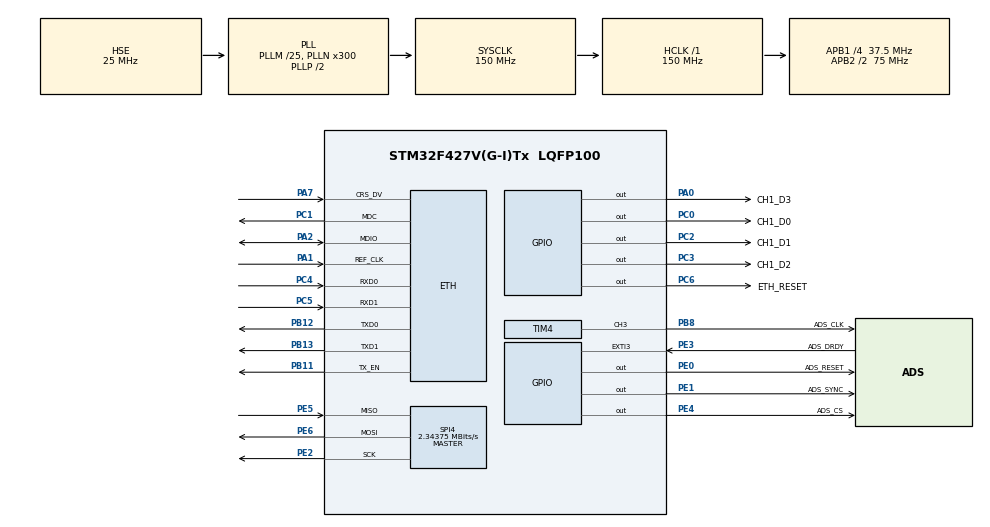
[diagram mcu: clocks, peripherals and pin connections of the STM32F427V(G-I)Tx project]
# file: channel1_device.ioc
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# TIMPRE=1 is explicitly configured in MX_TIM4_Init for the ADC clock.
ETH.MediaInterface=HAL_ETH_RMII_MODE
LWIP.IP_ADDRESS=192.168.001.100
LWIP.LWIP_DHCP=0
LWIP.NETMASK_ADDRESS=255.255.255.000
LWIP.Version=v2.1.2_Cube
Mcu.Family=STM32F4
Mcu.Name=STM32F427V(G-I)Tx
Mcu.Package=LQFP100
NVIC.EXTI3_IRQn=true\:0\:0\:false\:false\:true\:true\:true\:true
NVIC.PriorityGroup=NVIC_PRIORITYGROUP_4
PA0/WKUP.GPIO_Label=CH1_D3
PA0/WKUP.Signal=GPIO_Output
PA1.Mode=RMII
PA1.Signal=ETH_REF_CLK
PA13.Mode=Serial_Wire
PA13.Signal=SYS_JTMS-SWDIO
PA14.Mode=Serial_Wire
PA14.Signal=SYS_JTCK-SWCLK
PA2.Mode=RMII
PA2.Signal=ETH_MDIO
PB8.GPIO_Label=ADS_CLK
PB8.GPIO_Speed=GPIO_SPEED_FREQ_VERY_HIGH
PB8.Signal=S_TIM4_CH3
PA7.Mode=RMII
PA7.Signal=ETH_CRS_DV
PB11.Mode=RMII
PB11.Signal=ETH_TX_EN
PB12.Mode=RMII
PB12.Signal=ETH_TXD0
PB13.Mode=RMII
PB13.Signal=ETH_TXD1
PC0.GPIO_Label=CH1_D0
PC0.Signal=GPIO_Output
PC1.Mode=RMII
PC1.Signal=ETH_MDC
PC2.GPIO_Label=CH1_D1
PC2.Signal=GPIO_Output
PC3.GPIO_Label=CH1_D2
PC3.Signal=GPIO_Output
PC4.Mode=RMII
PC4.Signal=ETH_RXD0
PC5.Mode=RMII
PC5.Signal=ETH_RXD1
PC6.GPIO_Label=ETH_RESET
PC6.GPIO_Speed=GPIO_SPEED_FREQ_MEDIUM
PC6.Signal=GPIO_Output
PE0.GPIO_Label=ADS_RESET
PE0.PinState=GPIO_PIN_SET
PE0.Signal=GPIO_Output
PE1.GPIO_Label=ADS_SYNC
PE1.Signal=GPIO_Output
PE2.Mode=Full_Duplex_Master
PE2.Signal=SPI4_SCK
PE3.GPIO_Label=ADS_DRDY
PE3.Signal=GPXTI3
PE4.GPIO_Label=ADS_CS
PE4.GPIO_ModeDefaultOutputPP=GPIO_MODE_OUTPUT_PP
PE4.Signal=GPIO_Output
PE5.Mode=Full_Duplex_Master
PE5.Signal=SPI4_MISO
PE6.Mode=Full_Duplex_Master
PE6.Signal=SPI4_MOSI
PH0/OSC_IN.Mode=HSE-External-Oscillator
PH0/OSC_IN.Signal=RCC_OSC_IN
PH1/OSC_OUT.Mode=HSE-External-Oscillator
PH1/OSC_OUT.Signal=RCC_OSC_OUT
ProjectManager.HeapSize=0x200
ProjectManager.StackSize=0x400
ProjectManager.TargetToolchain=Makefile
RCC.48MHZClocksFreq_Value=75000000
RCC.AHBFreq_Value=150000000
RCC.APB1CLKDivider=RCC_HCLK_DIV4
RCC.APB1Freq_Value=37500000
RCC.APB1TimFreq_Value=150000000
RCC.APB2CLKDivider=RCC_HCLK_DIV2
RCC.APB2Freq_Value=75000000
RCC.APB2TimFreq_Value=150000000
RCC.CortexFreq_Value=150000000
RCC.HCLKFreq_Value=150000000
RCC.HSE_VALUE=25000000
RCC.HSI_VALUE=16000000
RCC.LSE_VALUE=32768
RCC.PLLM=25
RCC.PLLN=300
RCC.PLLSourceVirtual=RCC_PLLSOURCE_HSE
RCC.SYSCLKFreq_VALUE=150000000
RCC.SYSCLKSource=RCC_SYSCLKSOURCE_PLLCLK
RCC.VCOOutputFreq_Value=300000000
SH.S_TIM4_CH3.0=TIM4_CH3,PWM Generation3 CH3
SPI4.BaudRatePrescaler=SPI_BAUDRATEPRESCALER_32
SPI4.CLKPhase=SPI_PHASE_2EDGE
SPI4.CalculateBaudRate=2.34375 MBits/s
SPI4.Direction=SPI_DIRECTION_2LINES
SPI4.Mode=SPI_MODE_MASTER
SPI4.VirtualType=VM_MASTER
TIM4.Period=5
TIM4.Channel-PWM\ Generation3\ CH3=TIM_CHANNEL_3
TIM4.Pulse-PWM\ Generation3\ CH3=3
VP_LWIP_VS_Enabled.Mode=Enabled
board=custom

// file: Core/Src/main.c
/* USER CODE BEGIN Header */
/**
 ******************************************************************************
 * @file           : main.c
 * @brief          : Main program body
 ******************************************************************************
 * @attention
 *
 * STM32F427VGT6 + LAN8720A + ADS127L11
 * TCP/IP ADC acquisition program
 *
 ******************************************************************************
 */
/* USER CODE END Header */

#include "main.h"
#include "lwip.h"
#include "spi.h"
#include "tim.h"
#include "gpio.h"

/* USER CODE BEGIN Includes */
#include "app_config.h"
#include "app_net_config.h"
#include "flash_param.h"
#include "range_ctrl.h"
#include "ads127l11.h"
#include "adc_stream.h"
#include "adc_tcp_server.h"
#include "SEGGER_RTT.h"
#include "lwip/netif.h"
#include "lwip/ip_addr.h"
#include <string.h>
/* USER CODE END Includes */

/* USER CODE BEGIN PTD */

typedef struct
{
  uint8_t  found;
  uint8_t  phy_addr;
  uint16_t id1;
  uint16_t id2;
  uint16_t bcr;
  uint16_t bsr1;
  uint16_t bsr2;
  uint16_t anar;
  uint16_t anlpar;
  uint16_t aner;
  uint16_t special;
} EthPhyInfo_t;

/* USER CODE END PTD */

/* USER CODE BEGIN PD */

#define ETH_PHY_BOOT_WAIT_MS            5000U

#define ETH_PHY_RESET_LOW_MS            20U
#define ETH_PHY_RESET_RELEASE_MS        300U

#define LAN8720_REG_BCR                 0x00U
#define LAN8720_REG_BSR                 0x01U
#define LAN8720_REG_PHYID1              0x02U
#define LAN8720_REG_PHYID2              0x03U
#define LAN8720_REG_ANAR                0x04U
#define LAN8720_REG_ANLPAR              0x05U
#define LAN8720_REG_ANER                0x06U
#define LAN8720_REG_SPECIAL             0x1FU

#define LAN8720_BSR_AUTONEG_COMPLETE    (1U << 5)
#define LAN8720_BSR_LINK_STATUS         (1U << 2)

#define LAN8720_ID1_EXPECTED            0x0007U
#define LAN8720_ID2_MASK                0xFFF0U
#define LAN8720_ID2_EXPECTED_MASKED     0xC0F0U

#ifndef ETH_MACMIIAR_MB
#define ETH_MACMIIAR_MB                 0x00000001U
#endif

#ifndef ETH_MACMIIAR_CR_Div16
#define ETH_MACMIIAR_CR_Div16           0x00000008U
#endif

#ifndef ETH_MACMIIAR_CR_Div26
#define ETH_MACMIIAR_CR_Div26           0x0000000CU
#endif

#ifndef ETH_MACMIIAR_CR_Div42
#define ETH_MACMIIAR_CR_Div42           0x00000000U
#endif

#ifndef ETH_MACMIIAR_CR_Div62
#define ETH_MACMIIAR_CR_Div62           0x00000004U
#endif

#ifndef ETH_MACMIIAR_CR_Div102
#define ETH_MACMIIAR_CR_Div102          0x00000010U
#endif

#define ETH_MDIO_TIMEOUT_MS             100U
#define ETH_MACMIIAR_PA_SHIFT           11U
#define ETH_MACMIIAR_MR_SHIFT           6U
#define ETH_MACMIIAR_PA_MASK            0x0000F800U
#define ETH_MACMIIAR_MR_MASK            0x000007C0U

/* USER CODE END PD */

/* USER CODE BEGIN PM */

#ifndef myprintf
#define myprintf(...)                   SEGGER_RTT_printf(0, __VA_ARGS__)
#endif

#define LOG_OK(...)                     do { myprintf("[OK] ");   myprintf(__VA_ARGS__); myprintf("\r\n"); } while (0)
#define LOG_ERR(...)                    do { myprintf("[FAIL] "); myprintf(__VA_ARGS__); myprintf("\r\n"); } while (0)
#define LOG_INFO(...)                   do { myprintf("[INFO] "); myprintf(__VA_ARGS__); myprintf("\r\n"); } while (0)

/* USER CODE END PM */

/* USER CODE BEGIN PV */

extern struct netif gnetif;

/* USER CODE END PV */

void SystemClock_Config(void);

/* USER CODE BEGIN PFP */

static void DebugLog_Init(void);

static uint32_t Board_ETH_PHY_Reset(void);

static void ETH_Force_Clock_Enable(void);
static void ETH_Force_RMII_Mode(void);
static void ETH_Force_RMII_GPIO_Config(void);

static uint32_t ETH_Get_MDIO_CR(void);
static HAL_StatusTypeDef ETH_MDIO_Read(uint8_t phy_addr, uint8_t reg, uint16_t *value);

static const char *LAN8720_SpeedDuplexString(uint16_t special_reg);
static uint32_t LAN8720_ReadInfo(EthPhyInfo_t *info);
static uint32_t LAN8720_BootSelfTest(uint32_t wait_ms);

static void LwIP_ApplyNetConfig(const AppNetConfig_t *cfg);
static void LwIP_PrintNetifState(void);
static void App_PrintConfig(void);

/* USER CODE END PFP */

/* USER CODE BEGIN 0 */

static void DebugLog_Init(void)
{
  SEGGER_RTT_Init();

#ifdef SEGGER_RTT_MODE_NO_BLOCK_SKIP
  SEGGER_RTT_SetFlagsUpBuffer(0, SEGGER_RTT_MODE_NO_BLOCK_SKIP);
#endif

  myprintf("\r\n\r\n");
}

static uint32_t Board_ETH_PHY_Reset(void)
{
#ifdef ETH_RESET_Pin
  HAL_GPIO_WritePin(ETH_RESET_GPIO_Port, ETH_RESET_Pin, GPIO_PIN_RESET);
  HAL_Delay(ETH_PHY_RESET_LOW_MS);

  HAL_GPIO_WritePin(ETH_RESET_GPIO_Port, ETH_RESET_Pin, GPIO_PIN_SET);
  HAL_Delay(ETH_PHY_RESET_RELEASE_MS);

  return 0U;
#else
  return 1U;
#endif
}

static void ETH_Force_Clock_Enable(void)
{
#ifdef __HAL_RCC_ETH_CLK_ENABLE
  __HAL_RCC_ETH_CLK_ENABLE();
#endif

#ifdef __HAL_RCC_ETHMAC_CLK_ENABLE
  __HAL_RCC_ETHMAC_CLK_ENABLE();
#endif

#ifdef __HAL_RCC_ETHMACTX_CLK_ENABLE
  __HAL_RCC_ETHMACTX_CLK_ENABLE();
#endif

#ifdef __HAL_RCC_ETHMACRX_CLK_ENABLE
  __HAL_RCC_ETHMACRX_CLK_ENABLE();
#endif
}

static void ETH_Force_RMII_Mode(void)
{
  __HAL_RCC_SYSCFG_CLK_ENABLE();

#ifdef SYSCFG_PMC_MII_RMII_SEL
  SYSCFG->PMC |= SYSCFG_PMC_MII_RMII_SEL;
#endif
}

static void ETH_Force_RMII_GPIO_Config(void)
{
  GPIO_InitTypeDef GPIO_InitStruct = {0};

  __HAL_RCC_GPIOA_CLK_ENABLE();
  __HAL_RCC_GPIOB_CLK_ENABLE();
  __HAL_RCC_GPIOC_CLK_ENABLE();

  GPIO_InitStruct.Mode      = GPIO_MODE_AF_PP;
  GPIO_InitStruct.Pull      = GPIO_NOPULL;
  GPIO_InitStruct.Speed     = GPIO_SPEED_FREQ_VERY_HIGH;
  GPIO_InitStruct.Alternate = GPIO_AF11_ETH;

  /*
   * PA1 = ETH_RMII_REF_CLK
   * PA2 = ETH_MDIO
   * PA7 = ETH_RMII_CRS_DV
   */
  GPIO_InitStruct.Pin = GPIO_PIN_1 | GPIO_PIN_2 | GPIO_PIN_7;
  HAL_GPIO_Init(GPIOA, &GPIO_InitStruct);

  /*
   * PB11 = ETH_RMII_TX_EN
   * PB12 = ETH_RMII_TXD0
   * PB13 = ETH_RMII_TXD1
   */
  GPIO_InitStruct.Pin = GPIO_PIN_11 | GPIO_PIN_12 | GPIO_PIN_13;
  HAL_GPIO_Init(GPIOB, &GPIO_InitStruct);

  /*
   * PC1 = ETH_MDC
   * PC4 = ETH_RMII_RXD0
   * PC5 = ETH_RMII_RXD1
   */
  GPIO_InitStruct.Pin = GPIO_PIN_1 | GPIO_PIN_4 | GPIO_PIN_5;
  HAL_GPIO_Init(GPIOC, &GPIO_InitStruct);
}

static uint32_t ETH_Get_MDIO_CR(void)
{
  uint32_t hclk = HAL_RCC_GetHCLKFreq();

  /*
   * 当前 HCLK=168MHz，Div102 后 MDC 约 1.65MHz。
   */
  if (hclk >= 150000000U)
  {
    return ETH_MACMIIAR_CR_Div102;
  }
  else if (hclk >= 100000000U)
  {
    return ETH_MACMIIAR_CR_Div62;
  }
  else if (hclk >= 60000000U)
  {
    return ETH_MACMIIAR_CR_Div42;
  }
  else if (hclk >= 35000000U)
  {
    return ETH_MACMIIAR_CR_Div26;
  }
  else
  {
    return ETH_MACMIIAR_CR_Div16;
  }
}

static HAL_StatusTypeDef ETH_MDIO_Read(uint8_t phy_addr, uint8_t reg, uint16_t *value)
{
  uint32_t tickstart;
  uint32_t mdio_cr;

  if (value == NULL)
  {
    return HAL_ERROR;
  }

  mdio_cr = ETH_Get_MDIO_CR();

  tickstart = HAL_GetTick();
  while ((ETH->MACMIIAR & ETH_MACMIIAR_MB) != 0U)
  {
    if ((HAL_GetTick() - tickstart) > ETH_MDIO_TIMEOUT_MS)
    {
      return HAL_TIMEOUT;
    }
  }

  /*
   * MW bit = 0，read。
   */
  ETH->MACMIIAR =
      ((((uint32_t)phy_addr) << ETH_MACMIIAR_PA_SHIFT) & ETH_MACMIIAR_PA_MASK) |
      ((((uint32_t)reg)      << ETH_MACMIIAR_MR_SHIFT) & ETH_MACMIIAR_MR_MASK) |
      mdio_cr |
      ETH_MACMIIAR_MB;

  tickstart = HAL_GetTick();
  while ((ETH->MACMIIAR & ETH_MACMIIAR_MB) != 0U)
  {
    if ((HAL_GetTick() - tickstart) > ETH_MDIO_TIMEOUT_MS)
    {
      return HAL_TIMEOUT;
    }
  }

  *value = (uint16_t)(ETH->MACMIIDR & 0xFFFFU);
  return HAL_OK;
}

static const char *LAN8720_SpeedDuplexString(uint16_t special_reg)
{
  uint16_t hcdspeed = (uint16_t)((special_reg >> 2) & 0x07U);

  switch (hcdspeed)
  {
    case 0x01U:
      return "10M Half";

    case 0x05U:
      return "10M Full";

    case 0x02U:
      return "100M Half";

    case 0x06U:
      return "100M Full";

    default:
      return "Unknown";
  }
}

static uint32_t LAN8720_ReadInfo(EthPhyInfo_t *info)
{
  uint8_t addr;
  uint16_t id1;
  uint16_t id2;
  HAL_StatusTypeDef r1;
  HAL_StatusTypeDef r2;

  if (info == NULL)
  {
    return 1U;
  }

  memset(info, 0, sizeof(*info));

  for (addr = 0U; addr < 32U; addr++)
  {
    id1 = 0U;
    id2 = 0U;

    r1 = ETH_MDIO_Read(addr, LAN8720_REG_PHYID1, &id1);
    r2 = ETH_MDIO_Read(addr, LAN8720_REG_PHYID2, &id2);

    if ((r1 != HAL_OK) || (r2 != HAL_OK))
    {
      continue;
    }

    if (((id1 == 0x0000U) && (id2 == 0x0000U)) ||
        ((id1 == 0xFFFFU) && (id2 == 0xFFFFU)))
    {
      continue;
    }

    if ((id1 == LAN8720_ID1_EXPECTED) &&
        ((id2 & LAN8720_ID2_MASK) == LAN8720_ID2_EXPECTED_MASKED))
    {
      info->found = 1U;
      info->phy_addr = addr;
      info->id1 = id1;
      info->id2 = id2;

      (void)ETH_MDIO_Read(addr, LAN8720_REG_BCR,     &info->bcr);

      /*
       * BSR Link Status 是 latch-low，连续读两次。
       */
      (void)ETH_MDIO_Read(addr, LAN8720_REG_BSR,     &info->bsr1);
      (void)ETH_MDIO_Read(addr, LAN8720_REG_BSR,     &info->bsr2);

      (void)ETH_MDIO_Read(addr, LAN8720_REG_ANAR,    &info->anar);
      (void)ETH_MDIO_Read(addr, LAN8720_REG_ANLPAR,  &info->anlpar);
      (void)ETH_MDIO_Read(addr, LAN8720_REG_ANER,    &info->aner);
      (void)ETH_MDIO_Read(addr, LAN8720_REG_SPECIAL, &info->special);

      return 0U;
    }
  }

  return 2U;
}

static uint32_t LAN8720_BootSelfTest(uint32_t wait_ms)
{
  EthPhyInfo_t info;
  uint32_t start_tick;

  start_tick = HAL_GetTick();

  while ((HAL_GetTick() - start_tick) < wait_ms)
  {
    if (LAN8720_ReadInfo(&info) == 0U)
    {
      if (((info.bsr2 & LAN8720_BSR_LINK_STATUS) != 0U) &&
          ((info.bsr2 & LAN8720_BSR_AUTONEG_COMPLETE) != 0U))
      {
        LOG_OK("LAN8720A selftest: addr=%u, ID1=0x%04X, ID2=0x%04X, link=UP, speed=%s",
               info.phy_addr,
               info.id1,
               info.id2,
               LAN8720_SpeedDuplexString(info.special));
        return 0U;
      }
    }

    HAL_Delay(100);
  }

  if (LAN8720_ReadInfo(&info) == 0U)
  {
    LOG_ERR("LAN8720A selftest: PHY found but link not ready, addr=%u, BSR=0x%04X, SPECIAL=0x%04X, speed=%s",
            info.phy_addr,
            info.bsr2,
            info.special,
            LAN8720_SpeedDuplexString(info.special));
  }
  else
  {
    LOG_ERR("LAN8720A selftest: PHY not found by MDIO/MDC");
  }

  return 1U;
}

static void LwIP_ApplyNetConfig(const AppNetConfig_t *cfg)
{
  ip_addr_t ipaddr;
  ip_addr_t netmask;
  ip_addr_t gateway;

  if (cfg == NULL)
  {
    return;
  }

  IP4_ADDR(&ipaddr,
           cfg->local_ip[0],
           cfg->local_ip[1],
           cfg->local_ip[2],
           cfg->local_ip[3]);

  IP4_ADDR(&netmask,
           cfg->netmask[0],
           cfg->netmask[1],
           cfg->netmask[2],
           cfg->netmask[3]);

  IP4_ADDR(&gateway,
           cfg->gateway[0],
           cfg->gateway[1],
           cfg->gateway[2],
           cfg->gateway[3]);

  netif_set_addr(&gnetif, &ipaddr, &netmask, &gateway);

  LOG_OK("LwIP address apply: local=%u.%u.%u.%u mask=%u.%u.%u.%u gw=%u.%u.%u.%u",
         cfg->local_ip[0], cfg->local_ip[1], cfg->local_ip[2], cfg->local_ip[3],
         cfg->netmask[0], cfg->netmask[1], cfg->netmask[2], cfg->netmask[3],
         cfg->gateway[0], cfg->gateway[1], cfg->gateway[2], cfg->gateway[3]);
}

static void LwIP_PrintNetifState(void)
{
  LOG_OK("LwIP netif: up=%lu, link=%lu",
         netif_is_up(&gnetif) ? 1UL : 0UL,
         netif_is_link_up(&gnetif) ? 1UL : 0UL);
}

static void App_PrintConfig(void)
{
  LOG_OK("FlashParam load: fs=%lu, bits=%u, range=%u",
         (unsigned long)g_app_cfg.fs_hz,
         (unsigned int)g_app_cfg.bits,
         (unsigned int)g_app_cfg.range);

  LOG_OK("NetParam load: dev=%u, local=%u.%u.%u.%u, mask=%u.%u.%u.%u, gw=%u.%u.%u.%u, server=%u.%u.%u.%u:%u, reconnect=%lums",
         (unsigned int)g_app_net_cfg.device_id,
         g_app_net_cfg.local_ip[0], g_app_net_cfg.local_ip[1], g_app_net_cfg.local_ip[2], g_app_net_cfg.local_ip[3],
         g_app_net_cfg.netmask[0], g_app_net_cfg.netmask[1], g_app_net_cfg.netmask[2], g_app_net_cfg.netmask[3],
         g_app_net_cfg.gateway[0], g_app_net_cfg.gateway[1], g_app_net_cfg.gateway[2], g_app_net_cfg.gateway[3],
         g_app_net_cfg.server_ip[0], g_app_net_cfg.server_ip[1], g_app_net_cfg.server_ip[2], g_app_net_cfg.server_ip[3],
         (unsigned int)g_app_net_cfg.server_port,
         (unsigned long)g_app_net_cfg.reconnect_ms);
}

/* USER CODE END 0 */

int main(void)
{
  HAL_StatusTypeDef eth_start_status;

  DebugLog_Init();
  LOG_INFO("BOOT");

  HAL_Init();
  LOG_OK("HAL_Init");

  SystemClock_Config();
  LOG_OK("SystemClock_Config");

  /*
   * GPIO 必须最先初始化。
   */
  MX_GPIO_Init();
  LOG_OK("GPIO init");

  /*
   * 只在这里强制一次 RMII/GPIO/ETH Clock。
   * 注意：LAN8720A 复位后不再重复执行 ETH_Force_RMII_Mode() / ETH_Force_Clock_Enable()。
   * 你当前程序卡在复位后的第二次强制动作，所以这里已经去掉。
   */
  ETH_Force_RMII_Mode();
  ETH_Force_RMII_GPIO_Config();
  ETH_Force_Clock_Enable();
  LOG_OK("ETH RMII GPIO/Clock force");

  if (Board_ETH_PHY_Reset() != 0U)
  {
    LOG_ERR("LAN8720A reset pin undefined: check ETH_RESET_Pin in main.h");
    Error_Handler();
  }
  LOG_OK("LAN8720A reset");

  MX_SPI4_Init();
  LOG_OK("SPI4 init");

  MX_TIM4_Init();
  if (HAL_TIM_PWM_Start(&htim4, TIM_CHANNEL_3) != HAL_OK)
  {
    Error_Handler();
  }
  LOG_OK("ADC external clock PB8/TIM4: %luHz", (unsigned long)APP_ADC_CLOCK_HZ);

  /*
   * 从 STM32 内部 Flash 读取采样参数和 5G 主动连接参数。
   * 无有效参数时，FlashParam_LoadAll 内部会回退到默认值。
   * 注意：LwIP 初始化后还要把 g_app_net_cfg.local_ip/netmask/gateway 应用到 gnetif。
   */
  (void)FlashParam_LoadAll(&g_app_cfg, &g_app_net_cfg);
  App_PrintConfig();

  /*
   * 初始化 LwIP。
   * 如果程序卡在这里，最后一条日志会停在 NetParam load。
   */
  MX_LWIP_Init();
  LOG_OK("LwIP init");

  LwIP_ApplyNetConfig(&g_app_net_cfg);

  /*
   * 强制启动 ETH MAC/DMA。
   * 如果 HAL_BUSY，通常表示已经被 ethernetif 初始化流程启动过，这里继续运行。
   */
  eth_start_status = HAL_ETH_Start(&heth);
  if ((eth_start_status == HAL_OK) || (eth_start_status == HAL_BUSY))
  {
    LOG_OK("ETH MAC start, status=%d", eth_start_status);
  }
  else
  {
    LOG_ERR("ETH MAC start failed, status=%d", eth_start_status);
    Error_Handler();
  }

  ethernet_link_check_state(&gnetif);
  LwIP_PrintNetifState();

  /*
   * 开机只自检一次。
   * 自检失败则停机，避免网络不可用时继续初始化采集业务。
   */
  while (LAN8720_BootSelfTest(ETH_PHY_BOOT_WAIT_MS) != 0U)
  {
    LOG_ERR("LAN8720A boot selftest failed, retry after 5s");
    HAL_Delay(5000);
  }

  ethernet_link_check_state(&gnetif);

  /* ADC external clock is running before reset and CONFIG4.CLK_SEL programming. */

  if (RangeCtrl_Set(g_app_cfg.range) != 0)
  {
    LOG_ERR("RangeCtrl set failed, range=%u", (unsigned int)g_app_cfg.range);
    Error_Handler();
  }
  LOG_OK("RangeCtrl set");

  AdcStream_Init();
  LOG_OK("AdcStream init");

  if (ADS127L11_Init(&g_app_cfg) != 0)
  {
    LOG_ERR("ADS127L11 init failed");
    Error_Handler();
  }
  LOG_OK("ADS127L11 init");

  AdcTcpServer_Init();
  LOG_OK("ADC UDP active client init");

  LOG_OK("Enter while(1)");

  /* USER CODE END 2 */

  /* Infinite loop */
  /* USER CODE BEGIN WHILE */
  while (1)
  {
    /*
     * NO_SYS=1 裸机 LwIP 必须循环调用。
     */
    MX_LWIP_Process();

    /*
     * TCP 命令处理和 ADC 数据发送任务。
     */
    AdcTcpServer_Task();

    /* USER CODE END WHILE */

  }
}

void SystemClock_Config(void)
{
  RCC_OscInitTypeDef RCC_OscInitStruct = {0};
  RCC_ClkInitTypeDef RCC_ClkInitStruct = {0};

  __HAL_RCC_PWR_CLK_ENABLE();
  __HAL_PWR_VOLTAGESCALING_CONFIG(PWR_REGULATOR_VOLTAGE_SCALE1);

  /*
   * HSE = 25MHz
   * PLLM = 25
   * PLLN = 300
   * PLLP = 2
   *
   * SYSCLK = 25 / 25 * 300 / 2 = 150MHz
   * TIMPRE=1: TIM4 kernel is 150MHz; divide by 6 for a 50%-duty 25MHz ADC clock.
   */
  RCC_OscInitStruct.OscillatorType = RCC_OSCILLATORTYPE_HSE;
  RCC_OscInitStruct.HSEState = RCC_HSE_ON;
  RCC_OscInitStruct.PLL.PLLState = RCC_PLL_ON;
  RCC_OscInitStruct.PLL.PLLSource = RCC_PLLSOURCE_HSE;
  RCC_OscInitStruct.PLL.PLLM = 25;
  RCC_OscInitStruct.PLL.PLLN = 300;
  RCC_OscInitStruct.PLL.PLLP = RCC_PLLP_DIV2;
  RCC_OscInitStruct.PLL.PLLQ = 4;

  if (HAL_RCC_OscConfig(&RCC_OscInitStruct) != HAL_OK)
  {
    LOG_ERR("HAL_RCC_OscConfig failed");
    Error_Handler();
  }

  /*
   * SYSCLK = 150MHz
   * AHB    = 150MHz
   * APB1   = 37.5MHz
   * APB2   = 75MHz
   */
  RCC_ClkInitStruct.ClockType = RCC_CLOCKTYPE_HCLK |
                                RCC_CLOCKTYPE_SYSCLK |
                                RCC_CLOCKTYPE_PCLK1 |
                                RCC_CLOCKTYPE_PCLK2;

  RCC_ClkInitStruct.SYSCLKSource = RCC_SYSCLKSOURCE_PLLCLK;
  RCC_ClkInitStruct.AHBCLKDivider = RCC_SYSCLK_DIV1;
  RCC_ClkInitStruct.APB1CLKDivider = RCC_HCLK_DIV4;
  RCC_ClkInitStruct.APB2CLKDivider = RCC_HCLK_DIV2;

  if (HAL_RCC_ClockConfig(&RCC_ClkInitStruct, FLASH_LATENCY_5) != HAL_OK)
  {
    LOG_ERR("HAL_RCC_ClockConfig failed");
    Error_Handler();
  }
}

/* USER CODE BEGIN 4 */

/*
 * 当前 main.c 逻辑：
 *
 * 1. RTT 非阻塞日志；
 * 2. HAL / SystemClock / GPIO 初始化；
 * 3. 只强制一次 RMII/GPIO/ETH Clock；
 * 4. 复位 LAN8720A；
 * 5. 复位后不再重复强制 RMII mode/clock；
 * 6. SPI4 / TIM4 / LwIP 初始化；
 * 7. HAL_ETH_Start；
 * 8. LAN8720A 开机自检一次；
 * 9. 自检通过后启动 ADS127L11 + TCP active client；
 * 10. while(1) 中持续 MX_LWIP_Process() 和 AdcTcpServer_Task()。
 */

/* USER CODE END 4 */

void Error_Handler(void)
{
  /* USER CODE BEGIN Error_Handler_Debug */

  SEGGER_RTT_Init();

#ifdef SEGGER_RTT_MODE_NO_BLOCK_SKIP
  SEGGER_RTT_SetFlagsUpBuffer(0, SEGGER_RTT_MODE_NO_BLOCK_SKIP);
#endif

  LOG_ERR("Error_Handler entered");
  LOG_ERR("RCC->CR=0x%08lX RCC->CFGR=0x%08lX RCC->PLLCFGR=0x%08lX",
          RCC->CR,
          RCC->CFGR,
          RCC->PLLCFGR);

  __disable_irq();

  while (1)
  {
  }

  /* USER CODE END Error_Handler_Debug */
}

#ifdef USE_FULL_ASSERT
void assert_failed(uint8_t *file, uint32_t line)
{
  /* USER CODE BEGIN 6 */
  LOG_ERR("ASSERT FAILED: file=%s line=%lu", file, (unsigned long)line);
  (void)file;
  (void)line;
  /* USER CODE END 6 */
}
#endif /* USE_FULL_ASSERT */
